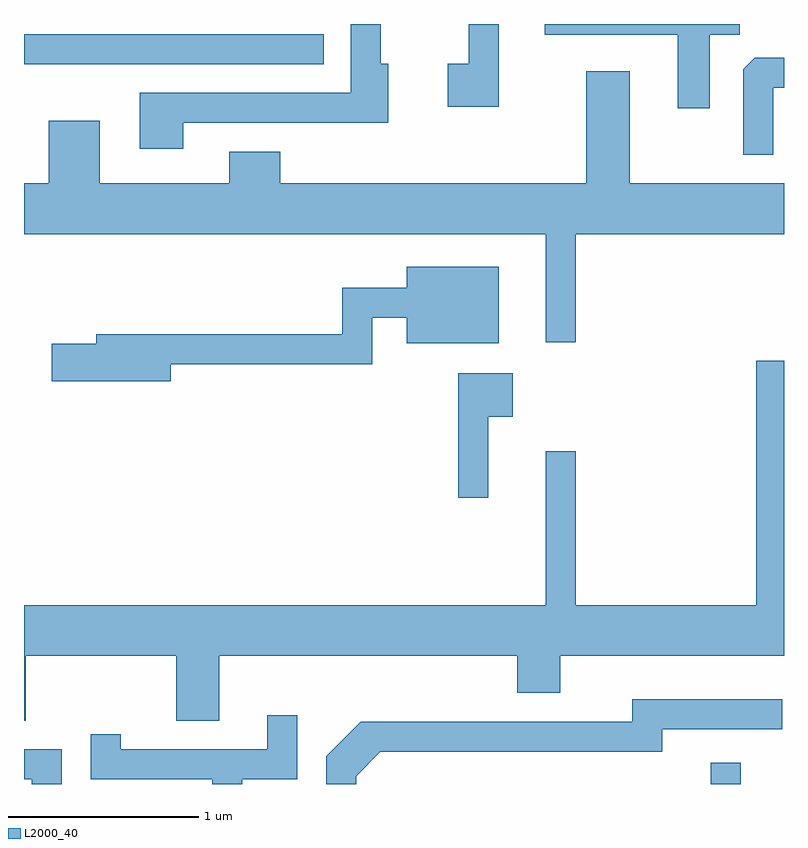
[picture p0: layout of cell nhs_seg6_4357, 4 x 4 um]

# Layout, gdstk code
import gdstk
lib = gdstk.Library(unit=1e-6, precision=1e-09)
def R(c, l, rs):  # rectangles x0, y0, x1, y1
    for r in rs: c.add(gdstk.rectangle(r[:2], r[2:], *l))
def P(c, l, *ps):  # polygons
    for p in ps: c.add(gdstk.Polygon(p, *l))
L2000_40 = (2000, 40)

nhs_seg6_4357 = lib.new_cell('nhs_seg6_4357')
R(nhs_seg6_4357, L2000_40, [(321.226,1638.162,321.384,1638.273), (317.611,1641.951,319.188,1642.109)])
P(nhs_seg6_4357, L2000_40, [(320.109,1642.162),(319.951,1642.162),(319.951,1641.954),(319.841,1641.954),(319.841,1641.726),(320.109,1641.726)],
  [(318.449,1641.641),(319.529,1641.641),(319.529,1641.954),(319.489,1641.954),(319.489,1642.162),(319.331,1642.162),(319.331,1641.799),(318.221,1641.799),(318.221,1641.506),(318.449,1641.506)],
  [(321.219,1642.106),(321.379,1642.106),(321.379,1642.162),(320.351,1642.162),(320.351,1642.106),(321.051,1642.106),(321.051,1641.718),(321.219,1641.718)],
  [(321.554,1641.826),(321.611,1641.826),(321.611,1641.984),(321.457,1641.984),(321.396,1641.924),(321.396,1641.473),(321.554,1641.473)],
  [(320.514,1641.056),(321.611,1641.056),(321.611,1641.324),(320.799,1641.324),(320.799,1641.914),(320.571,1641.914),(320.571,1641.324),(318.959,1641.324),(318.959,1641.489),(318.691,1641.489),(318.691,1641.324),(318.009,1641.324),(318.009,1641.654),(317.741,1641.654),(317.741,1641.324),(317.611,1641.324),(317.611,1641.056),(320.356,1641.056),(320.356,1640.488),(320.514,1640.488)],
  [(318.384,1640.371),(319.444,1640.371),(319.444,1640.616),(319.626,1640.616),(319.626,1640.481),(320.109,1640.481),(320.109,1640.884),(319.626,1640.884),(319.626,1640.774),(319.286,1640.774),(319.286,1640.529),(317.991,1640.529),(317.991,1640.479),(317.756,1640.479),(317.756,1640.281),(318.384,1640.281)],
  [(317.619,1638.836),(318.411,1638.836),(318.411,1638.496),(318.639,1638.496),(318.639,1638.836),(320.206,1638.836),(320.206,1638.641),(320.434,1638.641),(320.434,1638.836),(321.611,1638.836),(321.611,1640.389),(321.466,1640.389),(321.466,1639.104),(320.514,1639.104),(320.514,1639.913),(320.356,1639.913),(320.356,1639.104),(317.611,1639.104),(317.611,1638.496),(317.619,1638.496)],
  [(320.054,1640.096),(320.184,1640.096),(320.184,1640.324),(319.896,1640.324),(319.896,1639.668),(320.054,1639.668)],
  [(319.359,1638.204),(319.487,1638.331),(320.969,1638.331),(320.969,1638.451),(321.603,1638.451),(321.603,1638.609),(320.811,1638.609),(320.811,1638.489),(319.384,1638.489),(319.201,1638.307),(319.201,1638.162),(319.359,1638.162)],
  [(318.759,1638.186),(319.049,1638.186),(319.049,1638.523),(318.891,1638.523),(318.891,1638.344),(318.119,1638.344),(318.119,1638.423),(317.961,1638.423),(317.961,1638.186),(318.601,1638.186),(318.601,1638.162),(318.759,1638.162)],
  [(317.809,1638.344),(317.611,1638.344),(317.611,1638.186),(317.651,1638.186),(317.651,1638.162),(317.809,1638.162)])

lib.write_gds('nhs_seg6_4357.gds')
